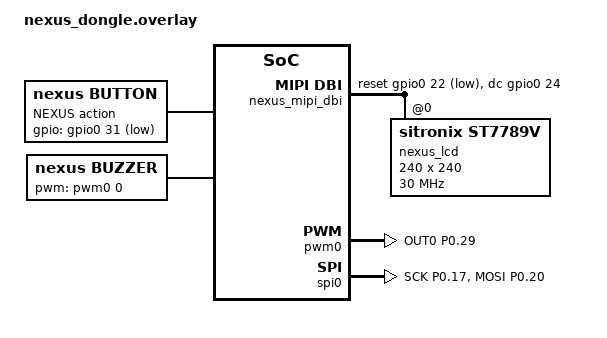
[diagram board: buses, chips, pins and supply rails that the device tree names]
/*
 * NEXUS dongle - nRF52840 ProMicro-compatible wiring.
 *
 * PIN MAP SOURCE: the supplied wiring diagram, which Section 5 names as the
 * source of truth. Two pins in that section's prose table disagree with the
 * diagram it is transcribing; the diagram wins, and it also matches the
 * hardware the existing Snake dongle already runs on, so this mapping is the
 * one with evidence behind it. Both variants are spelled out below so a
 * rewire is a two-line edit and never a source change (Section 6).
 *
 *   signal   | diagram (used here) | Section 5 prose table
 *   ---------+---------------------+----------------------
 *   LCD CS   | P0.11               | P0.10
 *   LCD BL   | tied to VCC (n/c)   | P0.11
 *   BUZZER   | P0.29               | P0.02
 *
 * Everything else agrees: SCK P0.17, MOSI P0.20, RESET P0.22, DC P0.24,
 * action button P0.31, and the reset button on the MCU RST pin - hardware
 * only, deliberately not a ZMK key (Section 14).
 */

/*
 * Marker for keymaps that want NEXUS-specific bindings.
 *
 * You cannot test CONFIG_* in a keymap: Zephyr generates the devicetree
 * BEFORE it runs Kconfig, so autoconf.h does not exist yet and every
 * `#ifdef CONFIG_...` in a .keymap silently evaluates false. What does work
 * is a plain define, because Zephyr concatenates all the DTS files and
 * preprocesses them as one unit - and shield overlays come before the keymap.
 *
 *     #ifdef NEXUS_DONGLE
 *         ... bindings that need &nexus_action ...
 *     #endif
 *
 * A build without this shield never sees the define, so one shared keymap can
 * serve both a NEXUS dongle and something else. See docs/configuration.md.
 */
#define NEXUS_DONGLE 1

#include <zephyr/dt-bindings/gpio/gpio.h>
#include <zephyr/dt-bindings/pinctrl/nrf-pinctrl.h>
#include <zephyr/dt-bindings/pwm/pwm.h>
#include <behaviors/nexus_action.dtsi>

/ {
	chosen {
		zephyr,display = &nexus_lcd;
	};

	aliases {
		nexus-button = &nexus_action_button;
		nexus-buzzer = &nexus_buzzer;
		/* nexus-backlight / nexus-backlight-pwm are deliberately absent:
		 * with BL strapped to VCC there is nothing to control, and
		 * nexus_display_backlight_mode() reports FIXED rather than
		 * offering a brightness slider that does nothing (Section 10). */
	};

	nexus_action_button: nexus-action-button {
		compatible = "nexus,button";
		gpios = <&gpio0 31 (GPIO_ACTIVE_LOW | GPIO_PULL_UP)>;
		label = "NEXUS action";
	};

	nexus_buzzer: nexus-buzzer {
		compatible = "nexus,buzzer";
		pwms = <&pwm0 0 PWM_MSEC(1) PWM_POLARITY_NORMAL>;
		label = "NEXUS buzzer";
	};

	/* --- WIRING VARIANT: BL on a GPIO (Section 5 prose table) ------------
	 * Move LCD CS to P0.10 in the &spi0 node below, then uncomment this
	 * block and add `nexus-backlight = &nexus_bl_led;` to aliases above.
	 *
	 * nexus_backlight: nexus-backlight {
	 *     compatible = "gpio-leds";
	 *     nexus_bl_led: nexus_bl_led {
	 *         gpios = <&gpio0 11 GPIO_ACTIVE_HIGH>;
	 *     };
	 * };
	 *
	 * For PWM dimming instead, put BL on a free PWM channel, point
	 * nexus-backlight-pwm at it, and NEXUS reports real brightness.
	 * ------------------------------------------------------------------ */
};

&pinctrl {
	nexus_spi_default: nexus_spi_default {
		group1 {
			psels = <NRF_PSEL(SPIM_SCK, 0, 17)>,
				<NRF_PSEL(SPIM_MOSI, 0, 20)>;
		};
	};

	nexus_spi_sleep: nexus_spi_sleep {
		group1 {
			psels = <NRF_PSEL(SPIM_SCK, 0, 17)>,
				<NRF_PSEL(SPIM_MOSI, 0, 20)>;
			low-power-enable;
		};
	};

	nexus_pwm_default: nexus_pwm_default {
		group1 {
			psels = <NRF_PSEL(PWM_OUT0, 0, 29)>; /* buzzer */
		};
	};

	nexus_pwm_sleep: nexus_pwm_sleep {
		group1 {
			psels = <NRF_PSEL(PWM_OUT0, 0, 29)>;
			low-power-enable;
		};
	};
};

&pwm0 {
	status = "okay";
	pinctrl-0 = <&nexus_pwm_default>;
	pinctrl-1 = <&nexus_pwm_sleep>;
	pinctrl-names = "default", "sleep";
};

/*
 * SPIM0, the same instance snake-module drives, and deliberately back from
 * SPIM3.
 *
 * SPIM3 is the only instance on an nRF52840 that exceeds 8 MHz
 * (nrf52840.dtsi: spi0/1/2 are `max-frequency = DT_FREQ_M(8)`, spi3 is
 * `DT_FREQ_M(32)`), and the driver clamps silently rather than complaining -
 * `MIN(spi_cfg->frequency, max_freq)` in spi_nrfx_spim.c. So the 30 MHz below
 * is really 8, a full 240x240 frame is ~115 ms of bus time instead of ~31 ms,
 * and moving to spi3 was a genuine 4x on every pixel pushed.
 *
 * It is reverted anyway, because BLE stopped working on the build that
 * introduced it and a dongle that renders quickly but will not pair is not a
 * dongle. This is the ONLY hardware-level difference between NEXUS and the
 * snake firmware that is known to work on this board, so it goes back first
 * and stays back until BLE is confirmed good.
 *
 * To try the optimisation again once BLE is proven: change this node and the
 * spi-dev phandle below to &spi3. Nothing else in the module cares which
 * instance it is. If BLE survives that, keep it - the speed is real.
 */
&spi0 {
	status = "okay";
	compatible = "nordic,nrf-spim";
	pinctrl-0 = <&nexus_spi_default>;
	pinctrl-1 = <&nexus_spi_sleep>;
	pinctrl-names = "default", "sleep";
	cs-gpios = <&gpio0 11 GPIO_ACTIVE_LOW>;   /* VARIANT: <&gpio0 10 ...> */
};

/ {
	/*
	 * Current Zephyr drives ST7789 through the MIPI DBI layer, not as a
	 * direct SPI child - the old `sitronix,st7789v` on-SPI binding with
	 * cmd-data-gpios no longer exists, and using it fails devicetree
	 * validation rather than merely rendering wrong. DC and RESET belong
	 * to the DBI controller; the SPI node above owns SCK, MOSI and CS.
	 */
	nexus_mipi_dbi: mipi-dbi {
		compatible = "zephyr,mipi-dbi-spi";
		spi-dev = <&spi0>;
		dc-gpios = <&gpio0 24 GPIO_ACTIVE_HIGH>;
		reset-gpios = <&gpio0 22 GPIO_ACTIVE_LOW>;
		write-only;
		#address-cells = <1>;
		#size-cells = <0>;

		nexus_lcd: st7789v@0 {
			compatible = "sitronix,st7789v";
			reg = <0>;
			mipi-max-frequency = <30000000>;
			mipi-mode = "MIPI_DBI_MODE_SPI_4WIRE";

			width = <240>;
			height = <240>;
			x-offset = <0>;
			y-offset = <0>;

			/*
			 * Standard 240x240 IPS ST7789 init values. `mdac`
			 * selects the panel's own scan order, which is the free
			 * way to rotate: change it here first, and only reach
			 * for CONFIG_NEXUS_DISPLAY_ROTATION (which rotates in
			 * software, in the compositor) if your panel is mounted
			 * at an angle the controller cannot express.
			 */
			vcom = <0x19>;
			gctrl = <0x35>;
			vrhs = <0x12>;
			vdvs = <0x20>;
			mdac = <0x00>;
			gamma = <0x01>;
			colmod = <0x05>;
			lcm = <0x2c>;
			porch-param = [0c 0c 00 33 33];
			cmd2en-param = [5a 69 02 01];
			pwctrl1-param = [a4 a1];
			pvgam-param = [D0 04 0D 11 13 2B 3F 54 4C 18 0D 0B 1F 23];
			nvgam-param = [D0 04 0C 11 13 2C 3F 44 51 2F 1F 1F 20 23];
			ram-param = [00 F0];
			rgb-param = [CD 08 14];
		};
	};
};
